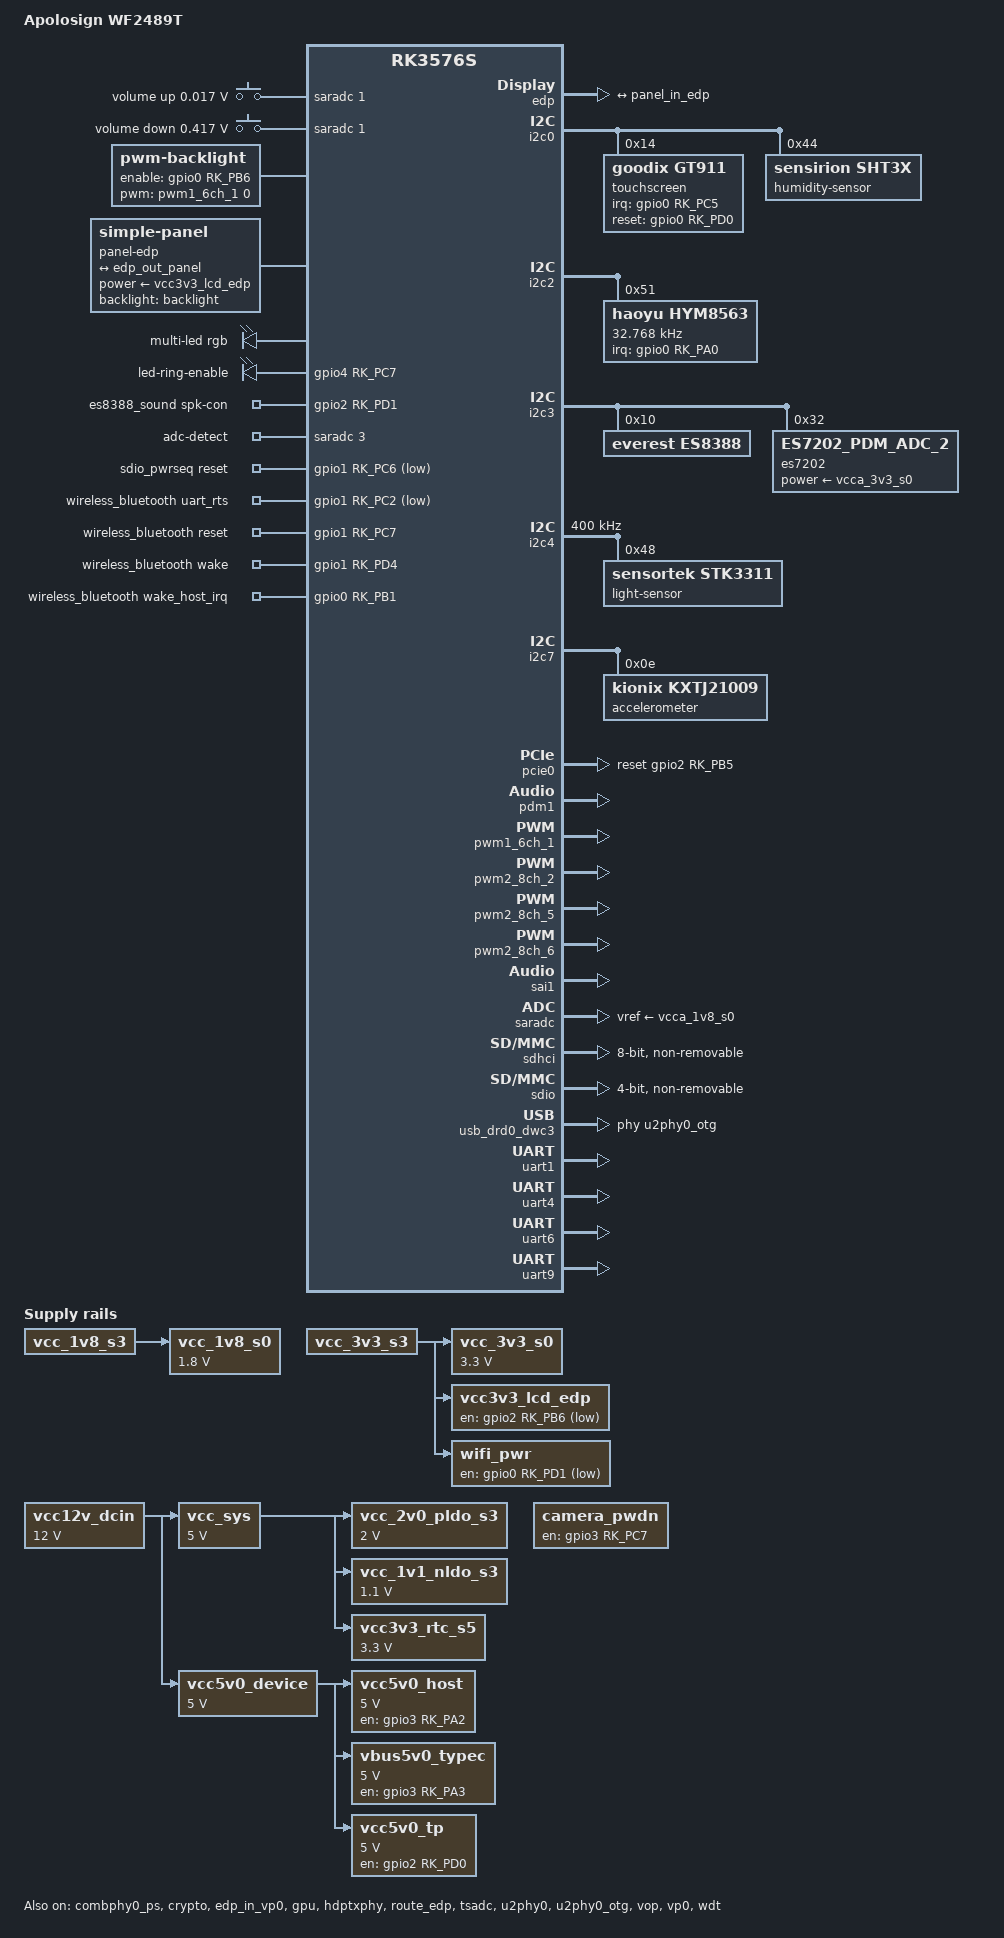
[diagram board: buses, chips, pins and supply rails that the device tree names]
// SPDX-License-Identifier: (GPL-2.0+ OR MIT)
/*
 * Apolosign WF2489T wall tablet (vendor board "RK3576S R141 V10").
 *
 * Written for the Rockchip develop-6.1 kernel. The vendor board is derived
 * from Rockchip's RK3576S EVB1; pins, supplies and devices below follow the
 * device tree the stock Android firmware runs (dt/running.dts), but only the
 * hardware this firmware uses is described. Camera, NPU and video
 * codecs are left out. Vendor-only drivers are replaced by upstream ones:
 *   pwm-four-leds   -> pwm-leds-multicolor (LED ring)
 *   gxht30          -> sht3x (temperature / humidity)
 *   ls_stk3x1x      -> stk3310 (ambient light)
 *   gs_kxtj9        -> kxcjk1013 (accelerometer, KXTJ2-1009)
 *   goodix gt9xx    -> goodix (touch)
 *   io_control      -> plain GPIOs (I/O 1-4), named via gpio-line-names
 */

/dts-v1/;

#include <dt-bindings/gpio/gpio.h>
#include <dt-bindings/input/input.h>
#include <dt-bindings/interrupt-controller/irq.h>
#include <dt-bindings/leds/common.h>
#include <dt-bindings/pinctrl/rockchip.h>
#include <dt-bindings/pwm/pwm.h>
#include "rk3576s.dtsi"
#include "rk3576-rk806.dtsi"
#include "rk3576-linux.dtsi"

/ {
	model = "Apolosign WF2489T";
	compatible = "apolosign,wf2489t", "rockchip,rk3576s";

	/* rk3576-linux.dtsi: mmc0 = eMMC; the root= in its chosen node is replaced by the bootloader */
	chosen {
		bootargs = "earlycon=uart8250,mmio32,0x2ad40000 console=ttyFIQ0 rootwait";
	};

	adc-keys {
		compatible = "adc-keys";
		io-channels = <&saradc 1>;
		io-channel-names = "buttons";
		keyup-threshold-microvolt = <1800000>;
		poll-interval = <100>;

		vol-up-key {
			label = "volume up";
			linux,code = <KEY_VOLUMEUP>;
			press-threshold-microvolt = <17000>;
		};

		vol-down-key {
			label = "volume down";
			linux,code = <KEY_VOLUMEDOWN>;
			press-threshold-microvolt = <417000>;
		};
	};

	backlight: backlight {
		compatible = "pwm-backlight";
		pwms = <&pwm1_6ch_1 0 56000 0>;
		/* curve of the stock firmware */
		brightness-levels = <
			  0  20  20  21  21  22  22  23
			 23  24  24  25  25  26  26  27
			 27  28  28  29  29  30  30  31
			 31  32  32  33  33  34  34  35
			 35  36  36  37  37  38  38  39
			 40  41  42  43  44  45  46  47
			 48  49  50  51  52  53  54  55
			 56  57  58  59  60  61  62  63
			 64  65  66  67  68  69  70  71
			 72  73  74  75  76  77  78  79
			 80  81  82  83  84  85  86  87
			 88  89  90  91  92  93  94  95
			 96  97  98  99 100 101 102 103
			104 105 106 107 108 109 110 111
			112 113 114 115 116 117 118 119
			120 121 122 123 124 125 126 127
			128 129 130 131 132 133 134 135
			136 137 138 139 140 141 142 143
			144 145 146 147 148 149 150 151
			152 153 154 155 156 157 158 159
			160 161 162 163 164 165 166 167
			168 169 170 171 172 173 174 175
			176 177 178 179 180 181 182 183
			184 185 186 187 188 189 190 191
			192 193 194 195 196 197 198 199
			200 201 202 203 204 205 206 207
			208 209 210 211 212 213 214 215
			216 217 218 219 220 221 222 223
			224 225 226 227 228 229 230 231
			232 233 234 235 236 237 238 239
			240 241 242 243 244 245 246 247
			248 249 250 251 252 253 254 255
		>;
		default-brightness-level = <200>;
		enable-gpios = <&gpio0 RK_PB6 GPIO_ACTIVE_HIGH>;
		pinctrl-names = "default";
		pinctrl-0 = <&bl_en>;
	};

	panel-edp {
		compatible = "simple-panel";
		backlight = <&backlight>;
		power-supply = <&vcc3v3_lcd_edp>;
		prepare-delay-ms = <120>;
		enable-delay-ms = <120>;
		unprepare-delay-ms = <120>;
		disable-delay-ms = <120>;

		display-timings {
			native-mode = <&timing_1080p>;

			timing_1080p: timing0 {
				clock-frequency = <146500000>;
				hactive = <1920>;
				vactive = <1080>;
				hfront-porch = <48>;
				hsync-len = <32>;
				hback-porch = <180>;
				vfront-porch = <3>;
				vsync-len = <6>;
				vback-porch = <31>;
				hsync-active = <0>;
				vsync-active = <0>;
				de-active = <0>;
				pixelclk-active = <0>;
			};
		};

		port {
			panel_in_edp: endpoint {
				remote-endpoint = <&edp_out_panel>;
			};
		};
	};

	/*
	 * RGB LED ring. Mapping from the stock kernel's wa_two_leds driver:
	 * red = its pwms entry, green/blue = legacy PWM ids 1/2, which are
	 * pwm2 ch2/ch5 (the IR PWM0 registers no PWM chip there).
	 */
	led-ring {
		compatible = "pwm-leds-multicolor";

		multi-led {
			color = <LED_COLOR_ID_RGB>;
			function = LED_FUNCTION_STATUS;
			max-brightness = <255>;

			led-red {
				color = <LED_COLOR_ID_RED>;
				pwms = <&pwm2_8ch_6 0 1000000 0>;
			};

			led-green {
				color = <LED_COLOR_ID_GREEN>;
				pwms = <&pwm2_8ch_2 0 1000000 0>;
			};

			led-blue {
				color = <LED_COLOR_ID_BLUE>;
				pwms = <&pwm2_8ch_5 0 1000000 0>;
			};
		};
	};

	/* "led_con" line of the stock LED driver, which drives it high at probe */
	leds {
		compatible = "gpio-leds";
		pinctrl-names = "default";
		pinctrl-0 = <&led_pwr>;

		led-ring-enable {
			label = "led-ring-enable";
			gpios = <&gpio4 RK_PC7 GPIO_ACTIVE_HIGH>;
			default-state = "on";
		};
	};

	es8388_sound: es8388-sound {
		compatible = "rockchip,multicodecs-card";
		rockchip,card-name = "rockchip-es8388";
		io-channels = <&saradc 3>;
		io-channel-names = "adc-detect";
		keyup-threshold-microvolt = <1800000>;
		poll-interval = <100>;
		spk-con-gpio = <&gpio2 RK_PD1 GPIO_ACTIVE_HIGH>;
		rockchip,pre-power-on-delay-ms = <30>;
		rockchip,post-power-down-delay-ms = <40>;
		rockchip,format = "i2s";
		rockchip,mclk-fs = <256>;
		rockchip,cpu = <&sai1>;
		rockchip,codec = <&es8388>;
		rockchip,audio-routing =
			"Headphone", "LOUT1",
			"Headphone", "ROUT1",
			"Speaker", "LOUT2",
			"Speaker", "ROUT2",
			"Headphone", "Headphone Power",
			"Headphone", "Headphone Power",
			"Speaker", "Speaker Power",
			"Speaker", "Speaker Power",
			"LINPUT1", "Main Mic",
			"LINPUT2", "Main Mic",
			"RINPUT1", "Headset Mic",
			"RINPUT2", "Headset Mic";
		pinctrl-names = "default";
		pinctrl-0 = <&spk_con>;
	};

	pdmics: dummy-codec {
		compatible = "rockchip,dummy-codec";
		#sound-dai-cells = <0>;
	};

	pdm-mic-array {
		compatible = "simple-audio-card";
		simple-audio-card,name = "rockchip,pdm-mic-array";

		simple-audio-card,cpu {
			sound-dai = <&pdm1>;
		};

		simple-audio-card,codec {
			sound-dai = <&pdmics>;
		};
	};

	sdio_pwrseq: sdio-pwrseq {
		compatible = "mmc-pwrseq-simple";
		pinctrl-names = "default";
		pinctrl-0 = <&wifi_poweren_gpio>;
		post-power-on-delay-ms = <200>;
		reset-gpios = <&gpio1 RK_PC6 GPIO_ACTIVE_LOW>;
	};

	vcc12v_dcin: vcc12v-dcin {
		compatible = "regulator-fixed";
		regulator-name = "vcc12v_dcin";
		regulator-always-on;
		regulator-boot-on;
		regulator-min-microvolt = <12000000>;
		regulator-max-microvolt = <12000000>;
	};

	vcc_sys: vcc5v0-sys {
		compatible = "regulator-fixed";
		regulator-name = "vcc_sys";
		regulator-always-on;
		regulator-boot-on;
		regulator-min-microvolt = <5000000>;
		regulator-max-microvolt = <5000000>;
		vin-supply = <&vcc12v_dcin>;
	};

	vcc5v0_device: vcc5v0-device {
		compatible = "regulator-fixed";
		regulator-name = "vcc5v0_device";
		regulator-always-on;
		regulator-boot-on;
		regulator-min-microvolt = <5000000>;
		regulator-max-microvolt = <5000000>;
		vin-supply = <&vcc12v_dcin>;
	};

	vcc_2v0_pldo_s3: vcc-2v0-pldo-s3 {
		compatible = "regulator-fixed";
		regulator-name = "vcc_2v0_pldo_s3";
		regulator-boot-on;
		regulator-always-on;
		regulator-min-microvolt = <2000000>;
		regulator-max-microvolt = <2000000>;
		vin-supply = <&vcc_sys>;
	};

	vcc_1v1_nldo_s3: vcc-1v1-nldo-s3 {
		compatible = "regulator-fixed";
		regulator-name = "vcc_1v1_nldo_s3";
		regulator-boot-on;
		regulator-always-on;
		regulator-min-microvolt = <1100000>;
		regulator-max-microvolt = <1100000>;
		vin-supply = <&vcc_sys>;
	};

	vcc3v3_rtc_s5: vcc3v3-rtc-s5 {
		compatible = "regulator-fixed";
		regulator-name = "vcc3v3_rtc_s5";
		regulator-boot-on;
		regulator-always-on;
		regulator-min-microvolt = <3300000>;
		regulator-max-microvolt = <3300000>;
		vin-supply = <&vcc_sys>;
	};

	vcc_1v8_s0: vcc-1v8-s0 {
		compatible = "regulator-fixed";
		regulator-name = "vcc_1v8_s0";
		regulator-boot-on;
		regulator-always-on;
		regulator-min-microvolt = <1800000>;
		regulator-max-microvolt = <1800000>;
		vin-supply = <&vcc_1v8_s3>;
	};

	vcc_3v3_s0: vcc-3v3-s0 {
		compatible = "regulator-fixed";
		regulator-name = "vcc_3v3_s0";
		regulator-boot-on;
		regulator-always-on;
		regulator-min-microvolt = <3300000>;
		regulator-max-microvolt = <3300000>;
		vin-supply = <&vcc_3v3_s3>;
	};

	vcc3v3_lcd_edp: vcc3v3-lcd-edp {
		compatible = "regulator-fixed";
		regulator-name = "vcc3v3_lcd_edp";
		gpio = <&gpio2 RK_PB6 GPIO_ACTIVE_LOW>;
		enable-active-low;
		regulator-boot-on;
		regulator-always-on;
		pinctrl-names = "default";
		pinctrl-0 = <&lcd_en_gpio>;
		vin-supply = <&vcc_3v3_s3>;
	};

	vcc5v0_host: vcc5v0-host {
		compatible = "regulator-fixed";
		regulator-name = "vcc5v0_host";
		regulator-boot-on;
		regulator-always-on;
		regulator-min-microvolt = <5000000>;
		regulator-max-microvolt = <5000000>;
		enable-active-high;
		gpio = <&gpio3 RK_PA2 GPIO_ACTIVE_HIGH>;
		vin-supply = <&vcc5v0_device>;
		pinctrl-names = "default";
		pinctrl-0 = <&usb_host_pwren>;
	};

	vbus5v0_typec: vbus5v0-typec {
		compatible = "regulator-fixed";
		regulator-name = "vbus5v0_typec";
		regulator-min-microvolt = <5000000>;
		regulator-max-microvolt = <5000000>;
		enable-active-high;
		gpio = <&gpio3 RK_PA3 GPIO_ACTIVE_HIGH>;
		vin-supply = <&vcc5v0_device>;
		pinctrl-names = "default";
		pinctrl-0 = <&usb_otg0_pwren>;
	};

	vcc5v0_tp: vcc5v0-tp {
		compatible = "regulator-fixed";
		regulator-name = "vcc5v0_tp";
		regulator-boot-on;
		regulator-always-on;
		regulator-min-microvolt = <5000000>;
		regulator-max-microvolt = <5000000>;
		enable-active-high;
		gpio = <&gpio2 RK_PD0 GPIO_ACTIVE_HIGH>;
		vin-supply = <&vcc5v0_device>;
		pinctrl-names = "default";
		pinctrl-0 = <&vcc5v0_tp_en>;
	};

	wifi_pwr: wifi-pwr {
		compatible = "regulator-fixed";
		regulator-name = "wifi_pwr";
		enable-active-low;
		regulator-boot-on;
		regulator-always-on;
		gpio = <&gpio0 RK_PD1 GPIO_ACTIVE_LOW>;
		vin-supply = <&vcc_3v3_s3>;
		pinctrl-names = "default";
		pinctrl-0 = <&wifi_pwren>;
	};

	/* held as on the stock firmware, so the camera stays in power-down */
	camera_pwdn: camera-pwdn-regulator {
		compatible = "regulator-fixed";
		regulator-name = "camera_pwdn";
		gpio = <&gpio3 RK_PC7 GPIO_ACTIVE_HIGH>;
		enable-active-high;
		regulator-always-on;
		regulator-boot-on;
		pinctrl-names = "default";
		pinctrl-0 = <&camera_pwdns>;
	};

	/*
	 * Bluetooth (AIC8800D80, UART4), for rfkill-rk. Wi-Fi power is handled by
	 * wifi_pwr and sdio_pwrseq; the vendor's wireless-wlan node is left out
	 * because it claims the same reset line as sdio_pwrseq.
	 */
	wireless_bluetooth: wireless-bluetooth {
		compatible = "bluetooth-platdata";
		uart_rts_gpios = <&gpio1 RK_PC2 GPIO_ACTIVE_LOW>;
		pinctrl-names = "default", "rts_gpio";
		pinctrl-0 = <&uart4m1_rtsn>;
		pinctrl-1 = <&uart4_gpios>;
		BT,reset_gpio = <&gpio1 RK_PC7 GPIO_ACTIVE_HIGH>;
		BT,wake_gpio = <&gpio1 RK_PD4 GPIO_ACTIVE_HIGH>;
		BT,wake_host_irq = <&gpio0 RK_PB1 GPIO_ACTIVE_HIGH>;
	};
};

&combphy0_ps {
	status = "okay";
};

&cpu_l0 {
	cpu-supply = <&vdd_cpu_lit_s0>;
};

&cpu_b0 {
	cpu-supply = <&vdd_cpu_big_s0>;
};

&crypto {
	status = "okay";
};

&display_subsystem {
	clocks = <&hdptxphy>;
	clock-names = "hdmi0_phy_pll";
};

&edp {
	force-hpd;
	status = "okay";

	ports {
		port@1 {
			reg = <1>;

			edp_out_panel: endpoint {
				remote-endpoint = <&panel_in_edp>;
			};
		};
	};
};

&edp_in_vp0 {
	status = "okay";
};

/* Panfrost looks the interrupts up by lower-case name */
&gpu {
	interrupt-names = "gpu", "mmu", "job";
	mali-supply = <&vdd_gpu_s0>;
	status = "okay";
};

&hdptxphy {
	status = "okay";
};

/* touch and humidity sensor */
&i2c0 {
	pinctrl-0 = <&i2c0m1_xfer>;
	status = "okay";

	touchscreen@14 {
		compatible = "goodix,gt911";
		reg = <0x14>;
		interrupt-parent = <&gpio0>;
		interrupts = <RK_PC5 IRQ_TYPE_EDGE_FALLING>;
		irq-gpios = <&gpio0 RK_PC5 GPIO_ACTIVE_HIGH>;
		reset-gpios = <&gpio0 RK_PD0 GPIO_ACTIVE_HIGH>;
		pinctrl-names = "default";
		pinctrl-0 = <&touch_gpio>;
	};

	humidity-sensor@44 {
		compatible = "sensirion,sht3x";
		reg = <0x44>;
	};
};

/* i2c1: RK806 PMIC, from rk3576-rk806.dtsi */

&i2c2 {
	pinctrl-0 = <&i2c2m0_xfer>;
	status = "okay";

	hym8563: rtc@51 {
		compatible = "haoyu,hym8563";
		reg = <0x51>;
		#clock-cells = <0>;
		clock-frequency = <32768>;
		clock-output-names = "hym8563";
		pinctrl-names = "default";
		pinctrl-0 = <&hym8563_int>;
		interrupt-parent = <&gpio0>;
		interrupts = <RK_PA0 IRQ_TYPE_LEVEL_LOW>;
		wakeup-source;
	};
};

/* audio codecs */
&i2c3 {
	status = "okay";

	es8388: audio-codec@10 {
		compatible = "everest,es8388", "everest,es8323";
		reg = <0x10>;
		#sound-dai-cells = <0>;
		clocks = <&mclkout_sai1>;
		clock-names = "mclk";
		assigned-clocks = <&mclkout_sai1>;
		assigned-clock-rates = <12288000>;
		pinctrl-names = "default";
		pinctrl-0 = <&sai1m0_mclk>;
	};

	es7202: audio-adc@32 {
		compatible = "ES7202_PDM_ADC_2";
		reg = <0x32>;
		#sound-dai-cells = <0>;
		power-supply = <&vcca_3v3_s0>;
	};
};

/* ambient light sensor (the camera on this bus is not described) */
&i2c4 {
	pinctrl-0 = <&i2c4m3_xfer>;
	clock-frequency = <400000>;
	status = "okay";

	light-sensor@48 {
		compatible = "sensortek,stk3311";
		reg = <0x48>;
	};
};

/* accelerometer */
&i2c7 {
	pinctrl-names = "default";
	pinctrl-0 = <&i2c7m1_xfer>;
	status = "okay";

	accelerometer@e {
		compatible = "kionix,kxtj21009";
		reg = <0x0e>;
	};
};

/*
 * Four general-purpose I/O lines, driven by the vendor io_control driver
 * (/dev/gpio_control, index 0-3 = gpio-one..four, from its probe code). The factory test uses
 * each as input and output; the vendor demo app uses I/O 1 as a door
 * contact input and I/O 3 as a door lock relay output.
 */
&gpio0 {
	gpio-line-names =
		/* A0-A7 */ "", "", "", "", "", "", "", "",
		/* B0-B7 */ "", "", "", "", "io-2", "", "", "",
		/* C0-C7 */ "", "", "", "", "", "", "", "",
		/* D0-D7 */ "", "", "", "io-1", "", "", "", "";
};

&gpio3 {
	gpio-line-names =
		/* A0-A7 */ "", "", "", "", "", "", "", "",
		/* B0-B7 */ "io-3", "io-4", "", "", "", "", "", "",
		/* C0-C7 */ "", "", "", "", "", "", "", "",
		/* D0-D7 */ "", "", "", "", "", "", "", "";
};

/* Ethernet: RTL8168 on PCIe */
&pcie0 {
	reset-gpios = <&gpio2 RK_PB5 GPIO_ACTIVE_HIGH>;
	rockchip,skip-scan-in-resume;
	pinctrl-names = "default";
	pinctrl-0 = <&ufs_refclk>;
	status = "okay";
};

&pdm1 {
	pinctrl-names = "default";
	pinctrl-0 = <&pdm1m0_clk0 &pdm1m1_clk1 &pdm1m0_sdi0 &pdm1m1_sdi1 &pdm1m1_sdi2>;
	/delete-property/ pinctrl-1;
	/delete-property/ pinctrl-2;
	rockchip,path-map = <2 0 1 3>;
	status = "okay";
};

&pwm1_6ch_1 {
	pinctrl-0 = <&pwm1m0_ch1>;
	status = "okay";
};

&pwm2_8ch_2 {
	pinctrl-0 = <&pwm2m1_ch2>;
	status = "okay";
};

&pwm2_8ch_5 {
	pinctrl-0 = <&pwm2m1_ch5>;
	status = "okay";
};

&pwm2_8ch_6 {
	pinctrl-0 = <&pwm2m1_ch6>;
	status = "okay";
};

&route_edp {
	status = "okay";
	connect = <&vp0_out_edp>;
};

&sai1 {
	pinctrl-names = "default";
	pinctrl-0 = <&sai1m0_lrck &sai1m0_sclk &sai1m0_sdi0 &sai1m0_sdo0>;
	status = "okay";
};

&saradc {
	vref-supply = <&vcca_1v8_s0>;
	status = "okay";
};

/* eMMC */
&sdhci {
	bus-width = <8>;
	no-sdio;
	no-sd;
	non-removable;
	max-frequency = <200000000>;
	mmc-hs400-1_8v;
	mmc-hs400-enhanced-strobe;
	full-pwr-cycle-in-suspend;
	status = "okay";
};

/* Wi-Fi: AIC8800D80 on SDIO */
&sdio {
	max-frequency = <200000000>;
	no-sd;
	no-mmc;
	bus-width = <4>;
	disable-wp;
	cap-sd-highspeed;
	cap-sdio-irq;
	keep-power-in-suspend;
	mmc-pwrseq = <&sdio_pwrseq>;
	non-removable;
	pinctrl-names = "default";
	pinctrl-0 = <&sdmmc1m0_bus4 &sdmmc1m0_clk &sdmmc1m0_cmd>;
	sd-uhs-sdr104;
	status = "okay";
};

&tsadc {
	status = "okay";
};

/* USB 2.0 OTG port (the only USB port) */
&u2phy0 {
	status = "okay";
};

&u2phy0_otg {
	vbus-supply = <&vbus5v0_typec>;
	rockchip,sel-pipe-phystatus;
	rockchip,dis-u2-susphy;
	status = "okay";
};

&usb_drd0_dwc3 {
	extcon = <&u2phy0>;
	maximum-speed = "high-speed";
	phys = <&u2phy0_otg>;
	phy-names = "usb2-phy";
	snps,dis_u2_susphy_quirk;
	snps,usb2-lpm-disable;
	status = "okay";
};

/* RS-485 (Modbus RTU at 9600 in the vendor demo app), /dev/ttyS1 */
&uart1 {
	pinctrl-names = "default";
	pinctrl-0 = <&uart1m1_xfer>;
	status = "okay";
};

/* Bluetooth */
&uart4 {
	pinctrl-names = "default";
	pinctrl-0 = <&uart4m1_xfer &uart4m1_ctsn>;
	status = "okay";
};

/* Zigbee: EFR32 (EmberZNet NCP), TX/RX only */
&uart6 {
	pinctrl-names = "default";
	pinctrl-0 = <&uart6m1_xfer>;
	status = "okay";
};

/* card reader port (NFC reader at 9600 in the vendor demo app), /dev/ttyS9 */
&uart9 {
	pinctrl-names = "default";
	pinctrl-0 = <&uart9m0_xfer>;
	status = "okay";
};

&vop {
	vop-supply = <&vdd_logic_s0>;
	status = "okay";
};

&vop_mmu {
	status = "okay";
};

&vp0 {
	status = "okay";
};

&wdt {
	status = "okay";
};

&pinctrl {
	display {
		bl_en: bl-en {
			rockchip,pins = <0 RK_PB6 RK_FUNC_GPIO &pcfg_pull_none>;
		};

		lcd_en_gpio: lcd-en-gpio {
			rockchip,pins = <2 RK_PB6 RK_FUNC_GPIO &pcfg_pull_none>;
		};
	};

	audio {
		spk_con: spk-con {
			rockchip,pins = <2 RK_PD1 RK_FUNC_GPIO &pcfg_pull_up>;
		};
	};

	camera {
		camera_pwdns: camera-pwdns {
			rockchip,pins = <3 RK_PC7 RK_FUNC_GPIO &pcfg_pull_up>;
		};
	};

	hym8563 {
		hym8563_int: hym8563-int {
			rockchip,pins = <0 RK_PA0 RK_FUNC_GPIO &pcfg_pull_up>;
		};
	};

	leds {
		led_pwr: led-pwr {
			rockchip,pins = <4 RK_PC7 RK_FUNC_GPIO &pcfg_pull_down>;
		};
	};

	touch {
		touch_gpio: touch-gpio {
			rockchip,pins =
				<0 RK_PD0 RK_FUNC_GPIO &pcfg_pull_up>,
				<0 RK_PC5 RK_FUNC_GPIO &pcfg_pull_up>;
		};

		vcc5v0_tp_en: vcc5v0-tp-en {
			rockchip,pins = <2 RK_PD0 RK_FUNC_GPIO &pcfg_pull_none>;
		};
	};

	usb {
		usb_host_pwren: usb-host-pwren {
			rockchip,pins = <3 RK_PA2 RK_FUNC_GPIO &pcfg_pull_none>;
		};

		usb_otg0_pwren: usb-otg0-pwren {
			rockchip,pins = <3 RK_PA3 RK_FUNC_GPIO &pcfg_pull_none>;
		};
	};

	wireless-bluetooth {
		uart4_gpios: uart4-gpios {
			rockchip,pins = <1 RK_PC2 RK_FUNC_GPIO &pcfg_pull_none>;
		};
	};

	wireless-wlan {
		wifi_poweren_gpio: wifi-poweren-gpio {
			rockchip,pins = <1 RK_PC6 RK_FUNC_GPIO &pcfg_pull_up>;
		};

		wifi_pwren: wifi-pwren {
			rockchip,pins = <0 RK_PD1 RK_FUNC_GPIO &pcfg_pull_none>;
		};
	};
};
